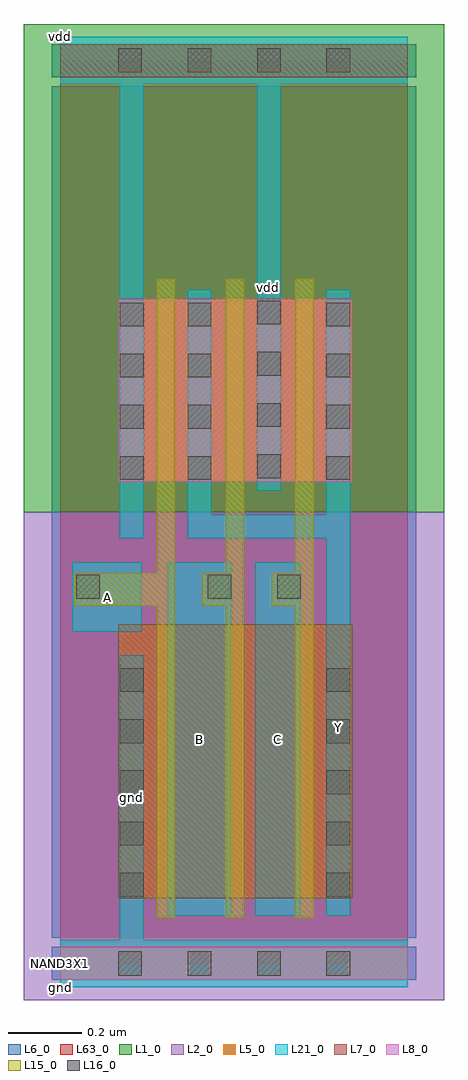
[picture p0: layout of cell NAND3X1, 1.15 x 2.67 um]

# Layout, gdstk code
import gdstk
lib = gdstk.Library(unit=1e-6, precision=1e-09)
def R(c, l, rs):  # rectangles x0, y0, x1, y1
    for r in rs: c.add(gdstk.rectangle(r[:2], r[2:], *l))
def A(c, l, x, y, w, h, nx, ny, dx, dy):  # array of equal rectangles
    R(c, l, [(x+i*dx, y+j*dy, x+i*dx+w, y+j*dy+h) for i in range(nx) for j in range(ny)])
def P(c, l, *ps):  # polygons
    for p in ps: c.add(gdstk.Polygon(p, *l))
L1_0 = (1, 0)
L2_0 = (2, 0)
L5_0 = (5, 0)
L6_0 = (6, 0)
L7_0 = (7, 0)
L8_0 = (8, 0)
L15_0 = (15, 0)
L16_0 = (16, 0)
L21_0 = (21, 0)
L63_0 = (63, 0)

nand3x1 = lib.new_cell('NAND3X1')
R(nand3x1, L1_0, [(-0.1,1.235,1.05,2.57)])
R(nand3x1, L2_0, [(-0.1,-0.1,1.05,1.235)])
A(nand3x1, L5_0, 0.263, 0.178, 0.05, 0.75, 3, 1, 0.19, 0)
A(nand3x1, L5_0, 0.263, 1.318, 0.05, 0.5, 3, 1, 0.19, 0)
R(nand3x1, L5_0, [(0,-0.045,0.95,0.045), (0.158,0.178,0.263,0.928), (0.313,0.178,0.453,0.928), (0.503,0.178,0.643,0.928), (0.693,0.178,0.798,0.928), (0.158,1.318,0.263,1.818), (0.313,1.318,0.453,1.818), (0.503,1.318,0.643,1.818), (0.693,1.318,0.798,1.818), (0,2.425,0.95,2.515)])
R(nand3x1, L6_0, [(-0.023,-0.045,0.973,0.045), (-0.023,-0.045,0.973,0.045), (-0.023,0.07,0.973,1.235), (-0.023,1.235,0.973,2.4), (-0.023,2.425,0.973,2.515), (-0.023,2.425,0.973,2.515)])
A(nand3x1, L7_0, 0.263, 0.178, 0.05, 0.75, 3, 1, 0.19, 0)
R(nand3x1, L7_0, [(0.158,0.178,0.263,0.928), (0.313,0.178,0.453,0.928), (0.503,0.178,0.643,0.928), (0.693,0.178,0.798,0.928), (0,2.425,0.95,2.515)])
A(nand3x1, L8_0, 0.263, 1.318, 0.05, 0.5, 3, 1, 0.19, 0)
R(nand3x1, L8_0, [(0,-0.045,0.95,0.045), (0.158,1.318,0.263,1.818), (0.313,1.318,0.453,1.818), (0.503,1.318,0.643,1.818), (0.693,1.318,0.798,1.818)])
A(nand3x1, L15_0, 0.263, 0.123, 0.05, 0.055, 3, 2, 0.19, 1.695)
A(nand3x1, L15_0, 0.263, 0.178, 0.05, 0.75, 3, 1, 0.19, 0)
A(nand3x1, L15_0, 0.263, 1.318, 0.05, 0.5, 3, 1, 0.19, 0)
P(nand3x1, L15_0, [(0.263,0.978),(0.038,0.978),(0.038,1.068),(0.263,1.068),(0.263,1.318),(0.313,1.318),(0.313,0.928),(0.263,0.928)],
  [(0.453,0.978),(0.388,0.978),(0.388,1.068),(0.453,1.068),(0.453,1.318),(0.503,1.318),(0.503,0.928),(0.453,0.928)],
  [(0.643,0.978),(0.578,0.978),(0.578,1.068),(0.643,1.068),(0.643,1.318),(0.693,1.318),(0.693,0.928),(0.643,0.928)])
A(nand3x1, L16_0, 0.158, -0.033, 0.065, 0.066, 4, 1, 0.19, 0)
A(nand3x1, L16_0, 0.163, 0.183, 0.065, 0.065, 1, 5, 0, 0.14)
A(nand3x1, L16_0, 0.728, 0.183, 0.065, 0.065, 1, 5, 0, 0.14)
A(nand3x1, L16_0, 0.163, 1.323, 0.065, 0.065, 1, 4, 0, 0.14)
A(nand3x1, L16_0, 0.348, 1.323, 0.065, 0.065, 1, 4, 0, 0.14)
A(nand3x1, L16_0, 0.728, 1.323, 0.065, 0.065, 1, 4, 0, 0.14)
A(nand3x1, L16_0, 0.538, 1.328, 0.065, 0.065, 1, 4, 0, 0.14)
A(nand3x1, L16_0, 0.158, 2.438, 0.065, 0.065, 4, 1, 0.19, 0)
R(nand3x1, L16_0, [(0.043,0.998,0.108,1.063), (0.403,0.998,0.468,1.063), (0.593,0.998,0.658,1.063)])
R(nand3x1, L21_0, [(0.293,0.13,0.468,1.098), (0.533,0.13,0.658,1.098), (0.033,0.908,0.223,1.098)])
P(nand3x1, L21_0, [(0,2.405),(0,2.535),(0.95,2.535),(0.95,2.405),(0.603,2.405),(0.603,1.293),(0.538,1.293),(0.538,2.405),(0.228,2.405),(0.228,1.163),(0.163,1.163),(0.163,2.405)],
  [(0.163,0.065),(0.163,0.843),(0.228,0.843),(0.228,0.065),(0.95,0.065),(0.95,-0.065),(0,-0.065),(0,0.065)],
  [(0.728,1.163),(0.348,1.163),(0.348,1.843),(0.413,1.843),(0.413,1.228),(0.728,1.228),(0.728,1.843),(0.793,1.843),(0.793,0.13),(0.728,0.13)])
R(nand3x1, L63_0, [(0,0,0.95,2.47)])
nand3x1.add(gdstk.Label('vdd', (0.57,1.849), layer=21, texttype=1))
nand3x1.add(gdstk.Label('gnd', (0.195,0.454), layer=21, texttype=1))
nand3x1.add(gdstk.Label('A', (0.128,1.002), layer=21, texttype=1))
nand3x1.add(gdstk.Label('Y', (0.76,0.646), layer=21, texttype=1))
nand3x1.add(gdstk.Label('B', (0.38,0.614), layer=21, texttype=1))
nand3x1.add(gdstk.Label('C', (0.595,0.614), layer=21, texttype=1))
nand3x1.add(gdstk.Label('vdd', (0,2.535), layer=21, texttype=2))
nand3x1.add(gdstk.Label('gnd', (0,-0.065), layer=21, texttype=2))
nand3x1.add(gdstk.Label('NAND3X1', (0,0), layer=63, texttype=1))

lib.write_gds('NAND3X1.gds')
